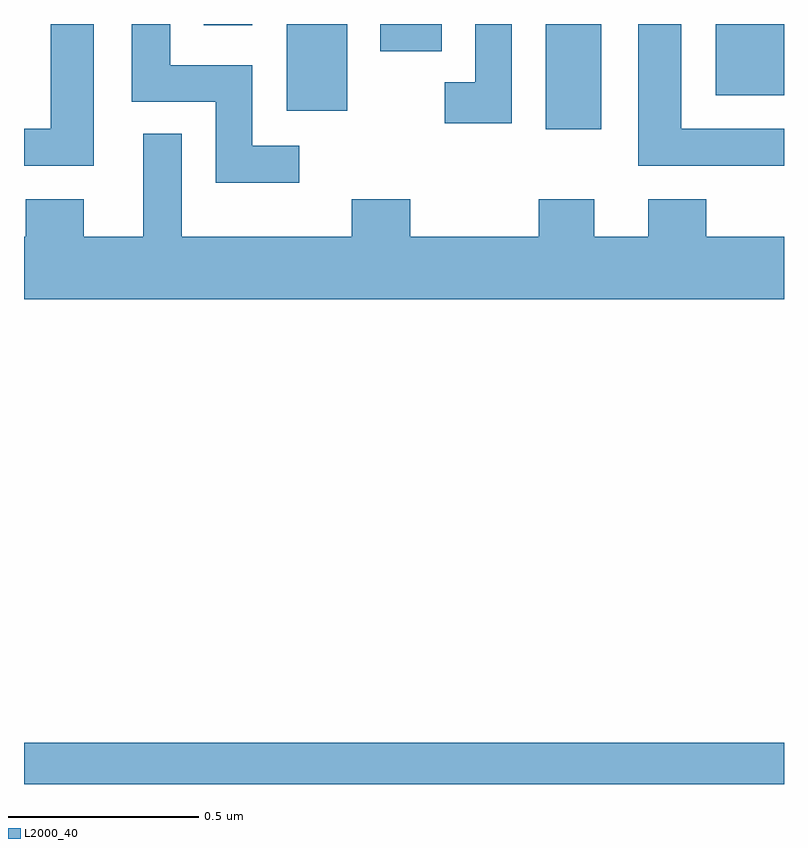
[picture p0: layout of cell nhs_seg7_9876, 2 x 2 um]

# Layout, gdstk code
import gdstk
lib = gdstk.Library(unit=1e-6, precision=1e-09)
def R(c, l, rs):  # rectangles x0, y0, x1, y1
    for r in rs: c.add(gdstk.rectangle(r[:2], r[2:], *l))
def P(c, l, *ps):  # polygons
    for p in ps: c.add(gdstk.Polygon(p, *l))
L2000_40 = (2000, 40)

nhs_seg7_9876 = lib.new_cell('nhs_seg7_9876')
R(nhs_seg7_9876, L2000_40, [(243,1006,245,1006.108), (244.373,1007.723,244.519,1008), (243.692,1007.772,243.85,1008), (244.82,1007.813,245,1008), (243.938,1007.928,244.099,1008), (243.473,1007.997,243.6,1008)])
P(nhs_seg7_9876, L2000_40, [(243.184,1008),(243.071,1008),(243.071,1007.724),(243,1007.724),(243,1007.627),(243.184,1007.627)],
  [(245,1007.724),(244.729,1007.724),(244.729,1008),(244.616,1008),(244.616,1007.627),(245,1007.627)],
  [(244.284,1008),(244.188,1008),(244.188,1007.847),(244.107,1007.847),(244.107,1007.739),(244.284,1007.739)],
  [(243.724,1007.679),(243.6,1007.679),(243.6,1007.892),(243.385,1007.892),(243.385,1008),(243.284,1008),(243.284,1007.796),(243.504,1007.796),(243.504,1007.582),(243.724,1007.582)],
  [(245,1007.44),(244.796,1007.44),(244.796,1007.539),(244.643,1007.539),(244.643,1007.44),(244.501,1007.44),(244.501,1007.539),(244.354,1007.539),(244.354,1007.44),(244.017,1007.44),(244.017,1007.539),(243.862,1007.539),(243.862,1007.44),(243.415,1007.44),(243.415,1007.711),(243.314,1007.711),(243.314,1007.44),(243.157,1007.44),(243.157,1007.539),(243.005,1007.539),(243.005,1007.44),(243,1007.44),(243,1007.276),(245,1007.276)])

lib.write_gds('nhs_seg7_9876.gds')
